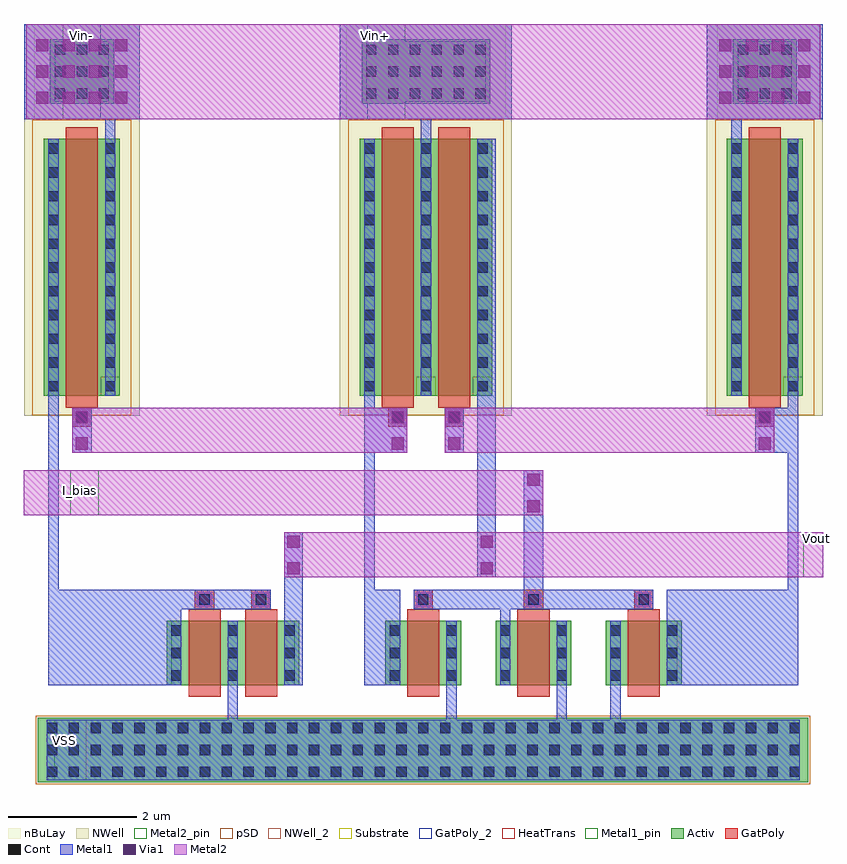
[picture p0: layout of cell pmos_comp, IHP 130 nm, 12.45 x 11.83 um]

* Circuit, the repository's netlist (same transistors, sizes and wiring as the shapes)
** sch_path: /home/designer/shared/designs/SSDOR_1.2V_v3/components/pmos_comp/pmos_comp.sch
.subckt pmos_comp Vin- Vin+ Vout I_bias VSS
*.PININFO I_bias:I Vin-:I Vin+:I VSS:I Vout:O
MM1 net2 net1 Vin- well3 sg13_lv_pmos w=4u l=0.5u ng=1 m=1
MM2 net1 net1 Vin+ well1 sg13_lv_pmos w=4u l=0.5u ng=1 m=1
MM3 Vout net3 Vin+ well1 sg13_lv_pmos w=4u l=0.5u ng=1 m=1
MM4 net3 net3 Vin- well2 sg13_lv_pmos w=4u l=0.5u ng=1 m=1
MM5 net2 net2 VSS VSS sg13_lv_nmos w=1u l=0.5u ng=1 m=1
MM6 Vout net2 VSS VSS sg13_lv_nmos w=1u l=0.5u ng=1 m=1
MM8 net1 I_bias VSS VSS sg13_lv_nmos w=1u l=0.5u ng=1 m=1
MM7 I_bias I_bias VSS VSS sg13_lv_nmos w=1u l=0.5u ng=1 m=1
MM9 net3 I_bias VSS VSS sg13_lv_nmos w=1u l=0.5u ng=1 m=1
RR1 Vin+ well1 ntap1 A=2e-12 P=6e-06
RR2 Vin- well2 ntap1 A=1e-12 P=4e-06
RR3 Vin- well3 ntap1 A=1e-12 P=4e-06
.ends

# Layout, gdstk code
from math import pi, radians
import gdstk
lib = gdstk.Library(unit=1e-6, precision=5e-09)
def R(c, l, rs):  # rectangles x0, y0, x1, y1
    for r in rs: c.add(gdstk.rectangle(r[:2], r[2:], *l))
def A(c, l, x, y, w, h, nx, ny, dx, dy):  # array of equal rectangles
    R(c, l, [(x+i*dx, y+j*dy, x+i*dx+w, y+j*dy+h) for i in range(nx) for j in range(ny)])
def P(c, l, *ps):  # polygons
    for p in ps: c.add(gdstk.Polygon(p, *l))
Activ = (1, 0)
GatPoly = (5, 0)
GatPoly_2 = (5, 2)
Cont = (6, 0)
Metal1 = (8, 0)
Metal1_pin = (8, 2)
Metal2 = (10, 0)
Metal2_pin = (10, 2)
pSD = (14, 0)
Via1 = (19, 0)
NWell = (31, 0)
NWell_2 = (31, 2)
nBuLay = (32, 0)
Substrate = (40, 0)
HeatTrans = (51, 0)

ntap1 = lib.new_cell('ntap1')
R(ntap1, Activ, [(0,0,2,1)])
A(ntap1, Cont, 0.07, 0.08, 0.16, 0.16, 6, 3, 0.34, 0.34)
R(ntap1, Metal1, [(0.07,0.03,1.93,0.97)])
R(ntap1, Metal1_pin, [(0.07,0.03,1.93,0.97), (0.07,0.08,1.93,0.92)])
R(ntap1, NWell, [(-0.24,-0.24,2.24,1.24), (0,0,2,1)])
R(ntap1, NWell_2, [(0,0,2,1)])
R(ntap1, nBuLay, [(-0.24,-0.24,2.24,1.24)])
ntap1.add(gdstk.Label('well', (1,0.01), layer=31, texttype=0))
ntap1.add(gdstk.Label('well', (1,0.01), layer=63, texttype=0))

ntap1_3 = lib.new_cell('ntap1$3')
R(ntap1_3, Activ, [(0,0,1,1)])
A(ntap1_3, Cont, 0.08, 0.08, 0.16, 0.16, 3, 3, 0.34, 0.34)
R(ntap1_3, Metal1, [(0.08,0.03,0.92,0.97)])
R(ntap1_3, Metal1_pin, [(0.08,0.03,0.92,0.97), (0.08,0.08,0.92,0.92)])
R(ntap1_3, NWell, [(-0.24,-0.24,1.24,1.24), (0,0,1,1)])
R(ntap1_3, NWell_2, [(0,0,1,1)])
R(ntap1_3, nBuLay, [(-0.24,-0.24,1.24,1.24)])
ntap1_3.add(gdstk.Label('well', (0.5,0.01), layer=31, texttype=0))
ntap1_3.add(gdstk.Label('well', (0.5,0.01), layer=63, texttype=0))

pmos_2 = lib.new_cell('pmos$2')
R(pmos_2, Activ, [(0,0,0.3,0.3), (0,0,1.18,4), (0.88,0,1.18,0.3)])
R(pmos_2, GatPoly, [(0.34,-0.18,0.84,4.18), (0.34,-0.18,0.84,4.18)])
A(pmos_2, Cont, 0.07, 0.07, 0.16, 0.16, 1, 11, 0, 0.37)
A(pmos_2, Cont, 0.95, 0.07, 0.16, 0.16, 1, 11, 0, 0.37)
R(pmos_2, Metal1, [(0.07,0,0.23,4), (0.07,0,0.23,4), (0.95,0,1.11,4), (0.95,0,1.11,4)])
R(pmos_2, pSD, [(-0.18,-0.3,1.36,4.3)])
R(pmos_2, NWell, [(-0.31,-0.31,1.49,4.31)])
R(pmos_2, Substrate, [(0.88,0,1.18,0.3)])
R(pmos_2, HeatTrans, [(0.34,-0.18,0.84,4.18)])
pmos_2.add(gdstk.Label('pmos', (0.59,2), layer=63, texttype=0))
pmos_2.add(gdstk.Label('pmos', (0.59,2), layer=51, texttype=0))

via_stack = lib.new_cell('via_stack')
R(via_stack, Metal1, [(-0.35,-0.105,0.35,0.105)])
R(via_stack, Metal2, [(-0.35,-0.1,0.35,0.1)])
R(via_stack, Via1, [(-0.3,-0.095,-0.11,0.095), (0.11,-0.095,0.3,0.095)])

nmos_1 = lib.new_cell('nmos$1')
R(nmos_1, Activ, [(0,0,0.3,0.3), (0,0,1.18,1), (0.88,0,1.18,0.3)])
R(nmos_1, GatPoly, [(0.34,-0.18,0.84,1.18)])
R(nmos_1, GatPoly_2, [(0.34,-0.18,0.84,1.18)])
A(nmos_1, Cont, 0.07, 0.07, 0.16, 0.16, 1, 3, 0, 0.35)
A(nmos_1, Cont, 0.95, 0.07, 0.16, 0.16, 1, 3, 0, 0.35)
R(nmos_1, Metal1, [(0.07,0,0.23,1), (0.95,0,1.11,1)])
R(nmos_1, Metal1_pin, [(0.07,0,0.23,1), (0.95,0,1.11,1)])
R(nmos_1, HeatTrans, [(0.34,-0.18,0.84,1.18)])
nmos_1.add(gdstk.Label('nmos', (0.59,0.5), layer=63, texttype=0))
nmos_1.add(gdstk.Label('nmos', (0.59,0.5), layer=51, texttype=0))

via_stack_4 = lib.new_cell('via_stack$4')
R(via_stack_4, Metal1, [(-0.76,-0.515,0.76,0.515)])
R(via_stack_4, Metal2, [(-0.76,-0.51,0.76,0.51)])
A(via_stack_4, Via1, -0.71, -0.505, 0.19, 0.19, 4, 3, 0.41, 0.41)

via_stack_2 = lib.new_cell('via_stack$2')
R(via_stack_2, Metal1, [(-0.105,-0.35,0.105,0.35)])
R(via_stack_2, Metal2, [(-0.1,-0.35,0.1,0.35)])
R(via_stack_2, Via1, [(-0.095,-0.3,0.095,-0.11), (-0.095,0.11,0.095,0.3)])

pmos_comp = lib.new_cell('pmos_comp')
R(pmos_comp, Activ, [(-6.175,-8.495,5.82,-7.495)])
A(pmos_comp, GatPoly, -0.325, -5.805, 0.3, 0.3, 3, 1, 1.715, 0)
R(pmos_comp, GatPoly, [(-3.73,-5.805,-3.43,-5.505), (-2.85,-5.805,-2.55,-5.505), (-5.64,-2.965,-5.34,-2.665), (-0.725,-2.965,-0.425,-2.665), (0.155,-2.965,0.455,-2.665), (4.99,-2.965,5.29,-2.665)])
A(pmos_comp, Cont, -6.035, -8.415, 0.16, 0.16, 35, 3, 0.34, 0.34)
A(pmos_comp, Cont, -0.255, -5.735, 0.16, 0.16, 3, 1, 1.715, 0)
R(pmos_comp, Cont, [(-3.66,-5.735,-3.5,-5.575), (-2.78,-5.735,-2.62,-5.575), (-5.57,-2.895,-5.41,-2.735), (-0.655,-2.895,-0.495,-2.735), (0.225,-2.895,0.385,-2.735), (5.06,-2.895,5.22,-2.735)])
R(pmos_comp, Metal1, [(-6.035,-8.465,5.685,-7.525), (-3.22,-7.995,-3.06,-5.985), (0.185,-7.995,0.345,-5.985), (1.9,-7.995,2.06,-5.985), (2.735,-7.995,2.895,-5.985), (-2.34,-6.985,-2.05,-4.61), (0.665,-5.31,0.955,1.515), (-5.64,-3.37,-5.34,-2.665), (-1.095,-3.37,-0.425,-2.665), (0.155,-3.37,0.455,-2.665), (4.99,-3.37,5.66,-2.665), (-5.13,-2.485,-4.97,2.205), (-0.215,-2.485,-0.055,2.205), (4.62,-2.485,4.78,2.205), (-6.39,1.825,-4.59,3.305), (-1.475,1.825,1.205,3.305), (4.24,1.825,6.04,3.305)])
P(pmos_comp, Metal1, [(1.02,-6.985),(1.02,-5.805),(-0.325,-5.805),(-0.325,-5.505),(1.39,-5.505),(1.39,-3.645),(1.69,-3.645),(1.69,-5.505),(3.405,-5.505),(3.405,-5.805),(1.18,-5.805),(1.18,-6.985)],
  [(-1.095,-6.985),(-1.095,1.515),(-0.935,1.515),(-0.935,-5.505),(-0.535,-5.505),(-0.535,-6.985)],
  [(3.615,-6.985),(3.615,-5.505),(5.5,-5.505),(5.5,1.515),(5.66,1.515),(5.66,-6.985)],
  [(-6.01,-6.985),(-6.01,1.515),(-5.85,1.515),(-5.85,-5.505),(-2.55,-5.505),(-2.55,-5.805),(-3.94,-5.805),(-3.94,-6.985)])
R(pmos_comp, Metal1_pin, [(-5.92,-8.465,-5.425,-7.525), (-5.785,1.825,-5.195,3.305), (-1.045,1.825,-0.455,3.305)])
R(pmos_comp, Metal2, [(-2.34,-5.31,6.05,-4.61), (-6.395,-4.345,1.69,-3.645), (-5.64,-3.37,-0.425,-2.665), (0.155,-3.37,5.29,-2.665), (-6.355,1.825,6.005,3.305)])
R(pmos_comp, Metal2_pin, [(5.74,-5.31,6.05,-4.61), (-5.67,-4.345,-5.225,-3.645)])
R(pmos_comp, pSD, [(-6.205,-8.525,5.85,-7.465)])
R(pmos_comp, NWell, [(-6.39,-2.795,-4.59,3.305), (-1.475,-2.795,1.205,3.305), (4.24,-2.795,6.04,3.305)])
pmos_comp.add(gdstk.Reference(ntap1, (-1.135,2.065)))
pmos_comp.add(gdstk.Reference(ntap1_3, (-5.99,2.065)))
pmos_comp.add(gdstk.Reference(pmos_2, (-0.285,-2.485)))
pmos_comp.add(gdstk.Reference(pmos_2, (-6.08,-2.485)))
pmos_comp.add(gdstk.Reference(pmos_2, (-1.165,-2.485)))
pmos_comp.add(gdstk.Reference(via_stack, (-5.49,-3.02), rotation=3*pi/2))
pmos_comp.add(gdstk.Reference(via_stack, (-0.575,-3.02), rotation=3*pi/2))
pmos_comp.add(gdstk.Reference(ntap1_3, (4.64,2.065)))
pmos_comp.add(gdstk.Reference(pmos_2, (4.55,-2.485)))
pmos_comp.add(gdstk.Reference(via_stack, (5.14,-3.02), rotation=3*pi/2, x_reflection=True))
pmos_comp.add(gdstk.Reference(via_stack, (0.305,-3.02), rotation=3*pi/2))
pmos_comp.add(gdstk.Reference(nmos_1, (-4.17,-6.985)))
pmos_comp.add(gdstk.Reference(nmos_1, (-3.29,-6.985)))
pmos_comp.add(gdstk.Reference(nmos_1, (-0.765,-6.985)))
pmos_comp.add(gdstk.Reference(nmos_1, (0.95,-6.985)))
pmos_comp.add(gdstk.Reference(nmos_1, (2.665,-6.985)))
pmos_comp.add(gdstk.Reference(via_stack_4, (-5.49,2.565)))
pmos_comp.add(gdstk.Reference(via_stack_4, (5.14,2.565)))
pmos_comp.add(gdstk.Reference(via_stack_2, (1.54,-3.995)))
pmos_comp.add(gdstk.Reference(via_stack_2, (-2.195,-4.96)))
pmos_comp.add(gdstk.Reference(via_stack_2, (0.81,-4.96)))
pmos_comp.add(gdstk.Label('Vin+', (-0.925,3.13), layer=8, texttype=25))
pmos_comp.add(gdstk.Label('Vin-', (-5.49,3.125), layer=8, texttype=25))
pmos_comp.add(gdstk.Label('VSS', (-5.76,-7.85), layer=8, texttype=25))
pmos_comp.add(gdstk.Label('Vout', (5.95,-4.71), layer=10, texttype=25))
pmos_comp.add(gdstk.Label('I_bias', (-5.52,-3.95), layer=10, texttype=25))

lib.write_gds('pmos_comp.gds')
